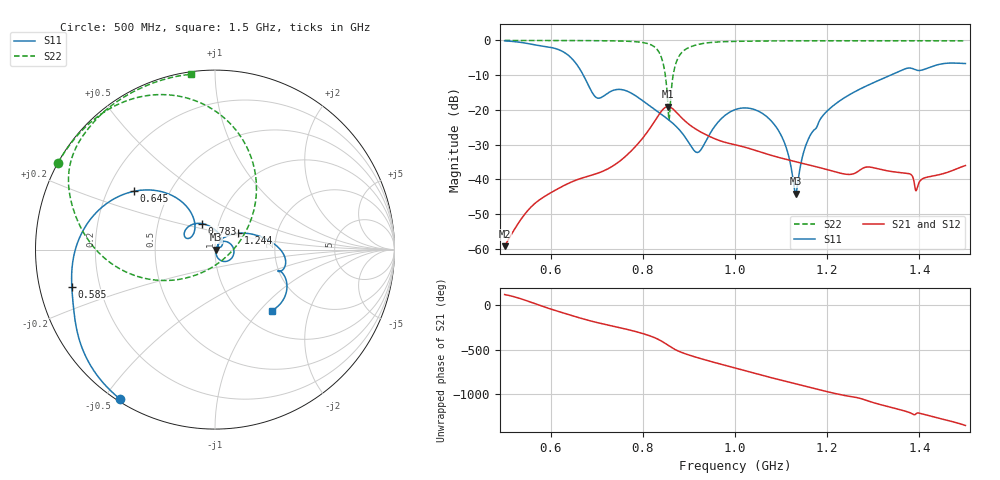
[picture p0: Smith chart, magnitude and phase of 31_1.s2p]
! TOUCHSTONE file generated by CST MICROWAVE STUDIO
! Date and time: Mon Oct 26 12:09:07 2020
! Project name: Scenario_1_Circular_Tissue_out_of_Line_v2.cst
! Parameters = {dy1=173; L_HA=400; MT=2.54; Rad_Dielectric=30; Rad_Lower=7.3; Rad_Upper=30; a_HA=580; a_WG=246; b_HA=500; b_WG=121; c_HA=0; c_WG=187; d_feed=85; dx1=173; h_feed=15; h_lower=18; h_upper=40}
! Header version: 2018
! Port assignment regex: !\s*Touchstone port\s*([0-9]+)\s*=\s*(CST MWS port|CST DS port)\s*([0-9]+|Zmin|Zmax)\s*\(\"(.*)\"\)(\s*mode\s*([0-9]+))?.*
! Touchstone port assignment:
! Touchstone port 1 = CST MWS port 1 ("")
! Touchstone port 2 = CST MWS port 2 ("")
# GHz S DB R 50
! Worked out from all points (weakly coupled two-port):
!   1003 points, 500 MHz to 1.5 GHz, reference 50 ohm
!   highest |S21| = -19.03 dB at 854 MHz (marker M1); lowest = -59.2 dB at 500 MHz (marker M2)
!   lowest |S11| = -44.1 dB at 1.132 GHz (marker M3), VSWR 1.01, Z = 50.6 - j0.0625 ohm
!   |S11| at or under -10 dB: 670.8 MHz to 1.337 GHz (666.6 MHz wide, 66.4 % of centre)
!   |S22| runs from -22.9 to 0.0 dB; largest |S21 - S12| = 0.0011
!   S11 on the Smith chart (normalised r, x): 500 MHz: 0.01, -0.55; 585 MHz: 0.10, -0.13; 645 MHz: 0.31, +0.29; 783 MHz: 0.83, +0.25; 1.244 GHz: 1.28, +0.24; 1.5 GHz: 1.34, -1.17
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0.5  -0.12 -122.6  -59.18 122.3  -59.16 122.3  -0.01 151.1
0.585  -1.68 -165.5  -45.02 -15.3  -45.04 -15.3  -0.02 145.2
0.645  -5.09 144.3  -40.72 -113.1  -40.73 -113.1  -0.03 140.4
0.667  -9.08 126.2  -39.63 -147.0  -39.63 -146.9  -0.04 138.4
0.701  -16.56 143.2  -38.24 166.6  -38.24 166.6  -0.07 134.7
0.783  -15.81 116.6  -30.66 67.5  -30.66 67.6  -0.35 119.5
0.834  -20.64 78.1  -21.53 -23.8  -21.50 -23.7  -3.15 81.9
0.845  -21.72 68.7  -19.65 -56.3  -19.62 -56.4  -7.16 58.4
0.854  -22.63 60.6  -19.03 -86.9  -19.02 -87.1  -17.53 14.2
0.859  -23.16 55.8  -19.17 -103.8  -19.17 -104.0  -19.45 -103.3
0.867  -24.07 48.0  -19.92 -128.5  -19.93 -128.5  -9.09 -150.7
0.893  -28.06 26.1  -23.35 173.7  -23.35 173.7  -2.54 171.8
0.921  -32.12 44.2  -25.99 127.8  -25.99 127.7  -1.13 157.8
1  -19.92 7.5  -30.01 15.9  -30.01 15.8  -0.27 140.2
1.086  -24.30 -66.3  -33.33 -103.1  -33.33 -103.2  -0.14 131.0
1.111  -30.77 -76.1  -34.20 -135.7  -34.21 -135.7  -0.12 128.8
1.132  -44.07 -5.7  -34.87 -163.1  -34.87 -163.1  -0.11 127.0
1.167  -26.48 54.4  -36.00 150.9  -36.00 150.9  -0.10 124.2
1.244  -15.96 34.9  -38.53 60.0  -38.56 60.4  -0.08 118.3
1.334  -10.20 8.9  -37.58 -62.0  -37.58 -61.9  -0.09 111.5
1.394  -8.55 -19.0  -43.02 -134.8  -41.94 -138.9  -0.09 106.8
1.5  -6.64 -47.3  -36.00 88.2  -36.00 88.2  -0.13 97.8
